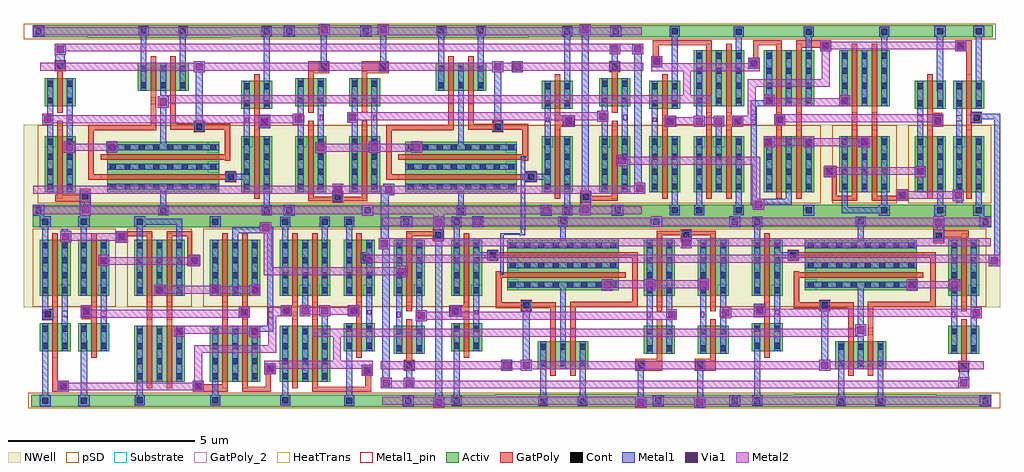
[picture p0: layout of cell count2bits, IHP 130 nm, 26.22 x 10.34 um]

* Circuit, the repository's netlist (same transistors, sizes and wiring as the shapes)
* Extracted by KLayout with SG13G2 LVS runset on : 31/03/2026 16:37

.SUBCKT count2bits
M$1 \$1 \$12 \$5 \$1 sg13_lv_nmos L=0.15u W=1.5u AS=0.51p AD=0.285p PS=3.68u
+ PD=1.88u
M$2 \$5 \$13 \$6 \$1 sg13_lv_nmos L=0.15u W=1.5u AS=0.285p AD=0.51p PS=1.88u
+ PD=3.68u
M$3 \$1 \$3 \$7 \$1 sg13_lv_nmos L=0.15u W=1.5u AS=0.51p AD=0.285p PS=3.68u
+ PD=1.88u
M$4 \$7 \$8 \$6 \$1 sg13_lv_nmos L=0.15u W=1.5u AS=0.285p AD=0.51p PS=1.88u
+ PD=3.68u
M$5 \$1 \$3 \$9 \$1 sg13_lv_nmos L=0.15u W=1.5u AS=0.51p AD=0.285p PS=3.68u
+ PD=1.88u
M$6 \$9 \$8 \$10 \$1 sg13_lv_nmos L=0.15u W=1.5u AS=0.285p AD=0.51p PS=1.88u
+ PD=3.68u
M$7 \$6 \$4 \$15 \$1 sg13_lv_nmos L=0.15u W=0.75u AS=0.255p AD=0.255p PS=2.18u
+ PD=2.18u
M$8 \$1 \$11 \$39 \$1 sg13_lv_nmos L=0.15u W=0.75u AS=0.255p AD=0.1425p
+ PS=2.18u PD=1.13u
M$9 \$39 \$16 \$1 \$1 sg13_lv_nmos L=0.15u W=0.75u AS=0.1425p AD=0.255p
+ PS=1.13u PD=2.18u
M$10 \$39 \$2 \$15 \$1 sg13_lv_nmos L=0.15u W=0.75u AS=0.255p AD=0.255p
+ PS=2.18u PD=2.18u
M$11 \$39 \$2 \$17 \$1 sg13_lv_nmos L=0.15u W=0.75u AS=0.255p AD=0.255p
+ PS=2.18u PD=2.18u
M$12 \$1 \$11 \$8 \$1 sg13_lv_nmos L=0.15u W=0.75u AS=0.255p AD=0.1425p
+ PS=2.18u PD=1.13u
M$13 \$8 \$18 \$1 \$1 sg13_lv_nmos L=0.15u W=0.75u AS=0.1425p AD=0.255p
+ PS=1.13u PD=2.18u
M$14 \$8 \$4 \$17 \$1 sg13_lv_nmos L=0.15u W=0.75u AS=0.255p AD=0.255p PS=2.18u
+ PD=2.18u
M$15 \$1 \$3 \$12 \$1 sg13_lv_nmos L=0.15u W=0.75u AS=0.255p AD=0.255p PS=2.18u
+ PD=2.18u
M$16 \$62 \$4 \$63 \$1 sg13_lv_nmos L=0.15u W=0.75u AS=0.255p AD=0.255p
+ PS=2.18u PD=2.18u
M$17 \$1 \$8 \$13 \$1 sg13_lv_nmos L=0.15u W=0.75u AS=0.255p AD=0.255p PS=2.18u
+ PD=2.18u
M$18 \$64 \$62 \$1 \$1 sg13_lv_nmos L=0.15u W=0.75u AS=0.255p AD=0.255p
+ PS=2.18u PD=2.18u
M$19 \$62 \$2 \$66 \$1 sg13_lv_nmos L=0.15u W=0.75u AS=0.255p AD=0.255p
+ PS=2.18u PD=2.18u
M$20 \$1 \$10 \$14 \$1 sg13_lv_nmos L=0.15u W=0.75u AS=0.255p AD=0.255p
+ PS=2.18u PD=2.18u
M$21 \$67 \$2 \$66 \$1 sg13_lv_nmos L=0.15u W=0.75u AS=0.255p AD=0.255p
+ PS=2.18u PD=2.18u
M$22 \$1 \$15 \$16 \$1 sg13_lv_nmos L=0.15u W=0.75u AS=0.255p AD=0.255p
+ PS=2.18u PD=2.18u
M$23 \$68 \$67 \$1 \$1 sg13_lv_nmos L=0.15u W=0.75u AS=0.255p AD=0.255p
+ PS=2.18u PD=2.18u
M$24 \$67 \$4 \$70 \$1 sg13_lv_nmos L=0.15u W=0.75u AS=0.255p AD=0.255p
+ PS=2.18u PD=2.18u
M$25 \$71 \$93 \$1 \$1 sg13_lv_nmos L=0.15u W=0.75u AS=0.255p AD=0.255p
+ PS=2.18u PD=2.18u
M$26 \$93 \$63 \$94 \$1 sg13_lv_nmos L=0.15u W=1.5u AS=0.51p AD=0.285p PS=3.68u
+ PD=1.88u
M$27 \$94 \$14 \$1 \$1 sg13_lv_nmos L=0.15u W=1.5u AS=0.285p AD=0.51p PS=1.88u
+ PD=3.68u
M$28 \$1 \$17 \$18 \$1 sg13_lv_nmos L=0.15u W=0.75u AS=0.255p AD=0.255p
+ PS=2.18u PD=2.18u
M$29 \$70 \$63 \$95 \$1 sg13_lv_nmos L=0.15u W=1.5u AS=0.51p AD=0.285p PS=3.68u
+ PD=1.88u
M$30 \$95 \$14 \$1 \$1 sg13_lv_nmos L=0.15u W=1.5u AS=0.285p AD=0.51p PS=1.88u
+ PD=3.68u
M$31 \$70 \$73 \$96 \$1 sg13_lv_nmos L=0.15u W=1.5u AS=0.51p AD=0.285p PS=3.68u
+ PD=1.88u
M$32 \$96 \$61 \$1 \$1 sg13_lv_nmos L=0.15u W=1.5u AS=0.285p AD=0.51p PS=1.88u
+ PD=3.68u
M$33 \$73 \$63 \$1 \$1 sg13_lv_nmos L=0.15u W=0.75u AS=0.255p AD=0.255p
+ PS=2.18u PD=2.18u
M$34 \$61 \$14 \$1 \$1 sg13_lv_nmos L=0.15u W=0.75u AS=0.255p AD=0.255p
+ PS=2.18u PD=2.18u
M$35 \$1 \$64 \$63 \$1 sg13_lv_nmos L=0.15u W=0.75u AS=0.255p AD=0.1425p
+ PS=2.18u PD=1.13u
M$36 \$63 \$11 \$1 \$1 sg13_lv_nmos L=0.15u W=0.75u AS=0.1425p AD=0.255p
+ PS=1.13u PD=2.18u
M$37 \$1 \$68 \$66 \$1 sg13_lv_nmos L=0.15u W=0.75u AS=0.255p AD=0.1425p
+ PS=2.18u PD=1.13u
M$38 \$66 \$11 \$1 \$1 sg13_lv_nmos L=0.15u W=0.75u AS=0.1425p AD=0.255p
+ PS=1.13u PD=2.18u
M$39 \$3 \$3 \$12 \$3 sg13_lv_pmos L=0.15u W=1.5u AS=0.51p AD=0.51p PS=3.68u
+ PD=3.68u
M$40 \$3 \$8 \$13 \$3 sg13_lv_pmos L=0.15u W=1.5u AS=0.51p AD=0.51p PS=3.68u
+ PD=3.68u
M$41 \$3 \$12 \$38 \$3 sg13_lv_pmos L=0.15u W=1.5u AS=0.51p AD=0.285p PS=3.68u
+ PD=1.88u
M$42 \$38 \$13 \$3 \$3 sg13_lv_pmos L=0.15u W=1.5u AS=0.285p AD=0.51p PS=1.88u
+ PD=3.68u
M$43 \$38 \$3 \$6 \$3 sg13_lv_pmos L=0.15u W=1.5u AS=0.51p AD=0.285p PS=3.68u
+ PD=1.88u
M$44 \$6 \$8 \$38 \$3 sg13_lv_pmos L=0.15u W=1.5u AS=0.285p AD=0.51p PS=1.88u
+ PD=3.68u
M$45 \$3 \$3 \$10 \$3 sg13_lv_pmos L=0.15u W=1.5u AS=0.51p AD=0.285p PS=3.68u
+ PD=1.88u
M$46 \$10 \$8 \$3 \$3 sg13_lv_pmos L=0.15u W=1.5u AS=0.285p AD=0.51p PS=1.88u
+ PD=3.68u
M$47 \$3 \$10 \$14 \$3 sg13_lv_pmos L=0.15u W=1.5u AS=0.51p AD=0.51p PS=3.68u
+ PD=3.68u
M$48 \$6 \$2 \$15 \$3 sg13_lv_pmos L=0.15u W=1.5u AS=0.51p AD=0.51p PS=3.68u
+ PD=3.68u
M$49 \$3 \$15 \$16 \$3 sg13_lv_pmos L=0.15u W=1.5u AS=0.51p AD=0.51p PS=3.68u
+ PD=3.68u
M$50 \$39 \$4 \$15 \$3 sg13_lv_pmos L=0.15u W=1.5u AS=0.51p AD=0.51p PS=3.68u
+ PD=3.68u
M$51 \$39 \$4 \$17 \$3 sg13_lv_pmos L=0.15u W=1.5u AS=0.51p AD=0.51p PS=3.68u
+ PD=3.68u
M$52 \$3 \$17 \$18 \$3 sg13_lv_pmos L=0.15u W=1.5u AS=0.51p AD=0.51p PS=3.68u
+ PD=3.68u
M$53 \$8 \$2 \$17 \$3 sg13_lv_pmos L=0.15u W=1.5u AS=0.51p AD=0.51p PS=3.68u
+ PD=3.68u
M$54 \$62 \$2 \$63 \$3 sg13_lv_pmos L=0.15u W=1.5u AS=0.51p AD=0.51p PS=3.68u
+ PD=3.68u
M$55 \$64 \$62 \$3 \$3 sg13_lv_pmos L=0.15u W=1.5u AS=0.51p AD=0.51p PS=3.68u
+ PD=3.68u
M$56 \$62 \$4 \$66 \$3 sg13_lv_pmos L=0.15u W=1.5u AS=0.51p AD=0.51p PS=3.68u
+ PD=3.68u
M$57 \$67 \$4 \$66 \$3 sg13_lv_pmos L=0.15u W=1.5u AS=0.51p AD=0.51p PS=3.68u
+ PD=3.68u
M$58 \$39 \$11 \$40 \$3 sg13_lv_pmos L=0.15u W=3u AS=1.02p AD=0.57p PS=6.68u
+ PD=3.38u
M$59 \$40 \$16 \$3 \$3 sg13_lv_pmos L=0.15u W=3u AS=0.57p AD=1.02p PS=3.38u
+ PD=6.68u
M$60 \$68 \$67 \$3 \$3 sg13_lv_pmos L=0.15u W=1.5u AS=0.51p AD=0.51p PS=3.68u
+ PD=3.68u
M$61 \$67 \$2 \$70 \$3 sg13_lv_pmos L=0.15u W=1.5u AS=0.51p AD=0.51p PS=3.68u
+ PD=3.68u
M$62 \$71 \$93 \$3 \$3 sg13_lv_pmos L=0.15u W=1.5u AS=0.51p AD=0.51p PS=3.68u
+ PD=3.68u
M$63 \$3 \$63 \$93 \$3 sg13_lv_pmos L=0.15u W=1.5u AS=0.51p AD=0.285p PS=3.68u
+ PD=1.88u
M$64 \$93 \$14 \$3 \$3 sg13_lv_pmos L=0.15u W=1.5u AS=0.285p AD=0.51p PS=1.88u
+ PD=3.68u
M$65 \$72 \$63 \$70 \$3 sg13_lv_pmos L=0.15u W=1.5u AS=0.51p AD=0.285p PS=3.68u
+ PD=1.88u
M$66 \$70 \$14 \$72 \$3 sg13_lv_pmos L=0.15u W=1.5u AS=0.285p AD=0.51p PS=1.88u
+ PD=3.68u
M$67 \$8 \$11 \$41 \$3 sg13_lv_pmos L=0.15u W=3u AS=1.02p AD=0.57p PS=6.68u
+ PD=3.38u
M$68 \$41 \$18 \$3 \$3 sg13_lv_pmos L=0.15u W=3u AS=0.57p AD=1.02p PS=3.38u
+ PD=6.68u
M$69 \$3 \$73 \$72 \$3 sg13_lv_pmos L=0.15u W=1.5u AS=0.51p AD=0.285p PS=3.68u
+ PD=1.88u
M$70 \$72 \$61 \$3 \$3 sg13_lv_pmos L=0.15u W=1.5u AS=0.285p AD=0.51p PS=1.88u
+ PD=3.68u
M$71 \$73 \$63 \$3 \$3 sg13_lv_pmos L=0.15u W=1.5u AS=0.51p AD=0.51p PS=3.68u
+ PD=3.68u
M$72 \$61 \$14 \$3 \$3 sg13_lv_pmos L=0.15u W=1.5u AS=0.51p AD=0.51p PS=3.68u
+ PD=3.68u
M$73 \$3 \$64 \$65 \$3 sg13_lv_pmos L=0.15u W=3u AS=1.02p AD=0.57p PS=6.68u
+ PD=3.38u
M$74 \$65 \$11 \$63 \$3 sg13_lv_pmos L=0.15u W=3u AS=0.57p AD=1.02p PS=3.38u
+ PD=6.68u
M$75 \$3 \$68 \$69 \$3 sg13_lv_pmos L=0.15u W=3u AS=1.02p AD=0.57p PS=6.68u
+ PD=3.38u
M$76 \$69 \$11 \$66 \$3 sg13_lv_pmos L=0.15u W=3u AS=0.57p AD=1.02p PS=3.38u
+ PD=6.68u
.ENDS count2bits

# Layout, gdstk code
from math import pi, radians
import gdstk
lib = gdstk.Library(unit=1e-6, precision=5e-09)
def R(c, l, rs):  # rectangles x0, y0, x1, y1
    for r in rs: c.add(gdstk.rectangle(r[:2], r[2:], *l))
def A(c, l, x, y, w, h, nx, ny, dx, dy):  # array of equal rectangles
    R(c, l, [(x+i*dx, y+j*dy, x+i*dx+w, y+j*dy+h) for i in range(nx) for j in range(ny)])
def P(c, l, *ps):  # polygons
    for p in ps: c.add(gdstk.Polygon(p, *l))
Activ = (1, 0)
GatPoly = (5, 0)
GatPoly_2 = (5, 2)
Cont = (6, 0)
Metal1 = (8, 0)
Metal1_pin = (8, 2)
Metal2 = (10, 0)
pSD = (14, 0)
Via1 = (19, 0)
NWell = (31, 0)
Substrate = (40, 0)
HeatTrans = (51, 0)

nmos_5_2_1 = lib.new_cell('nmos$5$2$1')
R(nmos_5_2_1, Activ, [(0,0,0.3,0.3), (0,0,0.83,0.75), (0.53,0,0.83,0.3)])
R(nmos_5_2_1, GatPoly, [(0.34,-0.18,0.49,0.93)])
R(nmos_5_2_1, GatPoly_2, [(0.34,-0.18,0.49,0.93)])
R(nmos_5_2_1, Cont, [(0.07,0.07,0.23,0.23), (0.6,0.07,0.76,0.23), (0.07,0.52,0.23,0.68), (0.6,0.52,0.76,0.68)])
R(nmos_5_2_1, Metal1, [(0.07,0,0.23,0.75), (0.6,0,0.76,0.75)])
R(nmos_5_2_1, Metal1_pin, [(0.07,0,0.23,0.75), (0.6,0,0.76,0.75)])
R(nmos_5_2_1, HeatTrans, [(0.34,-0.18,0.49,0.93)])
nmos_5_2_1.add(gdstk.Label('nmos', (0.415,0.375), layer=63, texttype=0))
nmos_5_2_1.add(gdstk.Label('nmos', (0.415,0.375), layer=51, texttype=0))

pmos_5_1_1 = lib.new_cell('pmos$5$1$1')
R(pmos_5_1_1, Activ, [(0,0,0.3,0.3), (0,0,0.83,3), (0.53,0,0.83,0.3)])
R(pmos_5_1_1, GatPoly, [(0.34,-0.18,0.49,3.18), (0.34,-0.18,0.49,3.18)])
A(pmos_5_1_1, Cont, 0.07, 0.07, 0.16, 0.16, 1, 7, 0, 0.385)
A(pmos_5_1_1, Cont, 0.6, 0.07, 0.16, 0.16, 1, 7, 0, 0.385)
R(pmos_5_1_1, Cont, [(0.07,2.77,0.23,2.93), (0.6,2.77,0.76,2.93)])
R(pmos_5_1_1, Metal1, [(0.07,0,0.23,3), (0.07,0,0.23,3), (0.6,0,0.76,3), (0.6,0,0.76,3)])
R(pmos_5_1_1, pSD, [(-0.18,-0.3,1.01,3.3)])
R(pmos_5_1_1, NWell, [(-0.31,-0.31,1.14,3.31)])
R(pmos_5_1_1, Substrate, [(0.53,0,0.83,0.3)])
R(pmos_5_1_1, HeatTrans, [(0.34,-0.18,0.49,3.18)])
pmos_5_1_1.add(gdstk.Label('pmos', (0.415,1.5), layer=63, texttype=0))
pmos_5_1_1.add(gdstk.Label('pmos', (0.415,1.5), layer=51, texttype=0))

norgate_1_1 = lib.new_cell('norgate$1$1')
R(norgate_1_1, Activ, [(-1.48,-2.5,2.355,-2.17), (-1.47,2.325,2.355,2.625)])
R(norgate_1_1, GatPoly, [(-0.01,-0.56,0.14,0.15), (0.52,-0.56,0.67,0.17), (-1.47,0.15,0.14,0.3), (0.52,0.17,2.19,0.32), (2.19,0.17,2.34,1.645), (-1.47,0.3,-1.32,1.135), (-1.47,0.965,-1.35,1.135), (2.01,1.495,2.19,1.645)])
R(norgate_1_1, GatPoly_2, [(0.005,-0.49,0.13,-0.38), (0.535,-0.49,0.66,-0.38)])
R(norgate_1_1, Cont, [(-0.28,-2.43,-0.12,-2.27), (-0.28,-2.43,-0.12,-2.27), (0.78,-2.43,0.94,-2.27), (0.78,-2.43,0.94,-2.27), (0.255,2.395,0.415,2.555)])
R(norgate_1_1, Metal1, [(-0.335,-2.48,-0.075,-2.22), (0.725,-2.48,0.985,-2.22), (-0.28,-2.43,-0.12,-0.74), (0.78,-2.43,0.94,-0.74), (0.25,-0.74,0.41,0.695), (0.25,1.915,0.41,2.345), (0.2,2.345,0.46,2.605)])
R(norgate_1_1, Metal1_pin, [(-0.25,-2.39,-0.17,-2.3), (0.81,-2.39,0.89,-2.3), (0.255,2.395,0.415,2.555)])
R(norgate_1_1, pSD, [(-1.48,-2.54,2.355,-2.125)])
R(norgate_1_1, NWell, [(-1.47,0.315,2.355,2.865), (-1.47,2.295,2.355,2.865)])
norgate_1_1.add(gdstk.Reference(nmos_5_2_1, (1.01,-0.74), rotation=pi))
norgate_1_1.add(gdstk.Reference(nmos_5_2_1, (-0.35,-1.49)))
norgate_1_1.add(gdstk.Reference(pmos_5_1_1, (-1.17,1.985), rotation=3*pi/2))
norgate_1_1.add(gdstk.Reference(pmos_5_1_1, (-1.17,1.455), rotation=3*pi/2))
norgate_1_1.add(gdstk.Label('vdd', (0.325,2.5), layer=8, texttype=2))
norgate_1_1.add(gdstk.Label('vss', (-0.22,-2.335), layer=8, texttype=2))
norgate_1_1.add(gdstk.Label('vss', (0.84,-2.335), layer=8, texttype=2))
norgate_1_1.add(gdstk.Label('b', (0.07,-0.44), layer=5, texttype=2))
norgate_1_1.add(gdstk.Label('a', (0.6,-0.44), layer=5, texttype=2))

nmos_1_3 = lib.new_cell('nmos$1$3')
R(nmos_1_3, Activ, [(0,0,0.3,0.3), (0,0,0.83,0.75), (0.53,0,0.83,0.3)])
R(nmos_1_3, GatPoly, [(0.34,-0.18,0.49,0.93)])
R(nmos_1_3, GatPoly_2, [(0.34,-0.18,0.49,0.93)])
R(nmos_1_3, Cont, [(0.07,0.07,0.23,0.23), (0.6,0.07,0.76,0.23), (0.07,0.52,0.23,0.68), (0.6,0.52,0.76,0.68)])
R(nmos_1_3, Metal1, [(0.07,0,0.23,0.75), (0.6,0,0.76,0.75)])
R(nmos_1_3, Metal1_pin, [(0.07,0,0.23,0.75), (0.6,0,0.76,0.75)])
R(nmos_1_3, HeatTrans, [(0.34,-0.18,0.49,0.93)])
nmos_1_3.add(gdstk.Label('nmos', (0.415,0.375), layer=63, texttype=0))
nmos_1_3.add(gdstk.Label('nmos', (0.415,0.375), layer=51, texttype=0))

pmos_2_1 = lib.new_cell('pmos$2$1')
R(pmos_2_1, Activ, [(0,0,0.3,0.3), (0,0,0.83,1.5), (0.53,0,0.83,0.3)])
R(pmos_2_1, GatPoly, [(0.34,-0.18,0.49,1.68), (0.34,-0.18,0.49,1.68)])
A(pmos_2_1, Cont, 0.07, 0.07, 0.16, 0.16, 1, 4, 0, 0.4)
A(pmos_2_1, Cont, 0.6, 0.07, 0.16, 0.16, 1, 4, 0, 0.4)
R(pmos_2_1, Metal1, [(0.07,0,0.23,1.5), (0.07,0,0.23,1.5), (0.6,0,0.76,1.5), (0.6,0,0.76,1.5)])
R(pmos_2_1, pSD, [(-0.18,-0.3,1.01,1.8)])
R(pmos_2_1, NWell, [(-0.31,-0.31,1.14,1.81)])
R(pmos_2_1, Substrate, [(0.53,0,0.83,0.3)])
R(pmos_2_1, HeatTrans, [(0.34,-0.18,0.49,1.68)])
pmos_2_1.add(gdstk.Label('pmos', (0.415,0.75), layer=63, texttype=0))
pmos_2_1.add(gdstk.Label('pmos', (0.415,0.75), layer=51, texttype=0))

inverter_1_1 = lib.new_cell('inverter$1$1')
R(inverter_1_1, Activ, [(-0.925,-2.62,0.525,-2.29), (-0.925,2.205,0.525,2.505)])
R(inverter_1_1, GatPoly, [(-0.275,-0.195,-0.125,0.185)])
R(inverter_1_1, GatPoly_2, [(-0.25,-0.14,-0.155,-0.04)])
R(inverter_1_1, Cont, [(-0.545,-2.535,-0.385,-2.375), (-0.545,-2.535,-0.385,-2.375), (-0.545,2.275,-0.385,2.435)])
R(inverter_1_1, Metal1, [(-0.595,-2.585,-0.335,-2.325), (-0.545,-2.325,-0.385,-0.845), (-0.015,-0.375,0.145,0.365), (-0.545,1.865,-0.385,2.275), (-0.595,2.225,-0.335,2.485)])
R(inverter_1_1, Metal1_pin, [(0.02,-0.135,0.12,-0.03)])
R(inverter_1_1, pSD, [(-0.925,-2.66,0.525,-2.245)])
R(inverter_1_1, NWell, [(-0.925,2.175,0.525,2.745)])
inverter_1_1.add(gdstk.Reference(nmos_1_3, (-0.615,-1.125)))
inverter_1_1.add(gdstk.Reference(pmos_2_1, (-0.615,0.365)))
inverter_1_1.add(gdstk.Label('vss', (-0.475,-2.43), layer=8, texttype=2))
inverter_1_1.add(gdstk.Label('vdd', (-0.465,2.355), layer=8, texttype=2))
inverter_1_1.add(gdstk.Label('out', (0.06,-0.09), layer=8, texttype=2))
inverter_1_1.add(gdstk.Label('in', (-0.205,-0.09), layer=5, texttype=2))

nmos_5_3_1 = lib.new_cell('nmos$5$3$1')
R(nmos_5_3_1, Activ, [(0,0,0.3,0.3), (0,0,0.83,0.75), (0.53,0,0.83,0.3)])
R(nmos_5_3_1, GatPoly, [(0.34,-0.18,0.49,0.93)])
R(nmos_5_3_1, GatPoly_2, [(0.34,-0.18,0.49,0.93)])
R(nmos_5_3_1, Cont, [(0.07,0.07,0.23,0.23), (0.6,0.07,0.76,0.23), (0.07,0.52,0.23,0.68), (0.6,0.52,0.76,0.68)])
R(nmos_5_3_1, Metal1, [(0.07,0,0.23,0.75), (0.6,0,0.76,0.75)])
R(nmos_5_3_1, Metal1_pin, [(0.07,0,0.23,0.75), (0.6,0,0.76,0.75)])
R(nmos_5_3_1, HeatTrans, [(0.34,-0.18,0.49,0.93)])
nmos_5_3_1.add(gdstk.Label('nmos', (0.415,0.375), layer=63, texttype=0))
nmos_5_3_1.add(gdstk.Label('nmos', (0.415,0.375), layer=51, texttype=0))

pmos_3_1 = lib.new_cell('pmos$3$1')
R(pmos_3_1, Activ, [(0,0,0.3,0.3), (0,0,0.83,1.5), (0.53,0,0.83,0.3)])
R(pmos_3_1, GatPoly, [(0.34,-0.18,0.49,1.68), (0.34,-0.18,0.49,1.68)])
A(pmos_3_1, Cont, 0.07, 0.07, 0.16, 0.16, 1, 4, 0, 0.4)
A(pmos_3_1, Cont, 0.6, 0.07, 0.16, 0.16, 1, 4, 0, 0.4)
R(pmos_3_1, Metal1, [(0.07,0,0.23,1.5), (0.07,0,0.23,1.5), (0.6,0,0.76,1.5), (0.6,0,0.76,1.5)])
R(pmos_3_1, pSD, [(-0.18,-0.3,1.01,1.8)])
R(pmos_3_1, NWell, [(-0.31,-0.31,1.14,1.81)])
R(pmos_3_1, Substrate, [(0.53,0,0.83,0.3)])
R(pmos_3_1, HeatTrans, [(0.34,-0.18,0.49,1.68)])
pmos_3_1.add(gdstk.Label('pmos', (0.415,0.75), layer=63, texttype=0))
pmos_3_1.add(gdstk.Label('pmos', (0.415,0.75), layer=51, texttype=0))

transmissiongate_1_1 = lib.new_cell('transmissiongate$1$1')
R(transmissiongate_1_1, Activ, [(2.295,-2.62,3.745,-2.29), (2.315,2.205,3.745,2.505)])
R(transmissiongate_1_1, GatPoly, [(2.945,-0.055,3.095,0.185)])
R(transmissiongate_1_1, GatPoly_2, [(2.98,-0.43,3.09,-0.27), (2.96,-0.055,3.08,0.105)])
R(transmissiongate_1_1, Cont, [(2.91,-2.54,3.07,-2.38), (2.86,2.275,3.02,2.435)])
R(transmissiongate_1_1, Metal1, [(2.91,-2.54,3.07,-2.38), (2.91,-2.54,3.07,-2.38), (2.675,-0.445,2.835,-0.21), (3.205,-0.445,3.365,-0.21), (2.675,-0.21,2.835,0.365), (3.205,-0.21,3.365,0.365), (2.86,2.275,3.02,2.435)])
R(transmissiongate_1_1, Metal1_pin, [(2.91,-2.54,3.07,-2.38), (2.69,-0.21,2.785,-0.07), (3.205,-0.21,3.365,-0.07), (2.86,2.275,3.02,2.435)])
R(transmissiongate_1_1, pSD, [(2.295,-2.66,3.745,-2.245)])
R(transmissiongate_1_1, NWell, [(2.295,2.175,3.745,2.745)])
transmissiongate_1_1.add(gdstk.Reference(nmos_5_3_1, (2.605,-1.195)))
transmissiongate_1_1.add(gdstk.Reference(pmos_3_1, (2.605,0.365)))
transmissiongate_1_1.add(gdstk.Label('vdd', (2.93,2.38), layer=8, texttype=2))
transmissiongate_1_1.add(gdstk.Label('vss', (2.985,-2.46), layer=8, texttype=2))
transmissiongate_1_1.add(gdstk.Label('out', (3.285,-0.14), layer=8, texttype=2))
transmissiongate_1_1.add(gdstk.Label('in', (2.73,-0.14), layer=8, texttype=2))
transmissiongate_1_1.add(gdstk.Label('en', (3.015,-0.355), layer=5, texttype=2))
transmissiongate_1_1.add(gdstk.Label('noten', (3.025,0.02), layer=5, texttype=2))

nmos_5_4 = lib.new_cell('nmos$5$4')
R(nmos_5_4, Activ, [(0,0,0.3,0.3), (0,0,0.83,0.75), (0.53,0,0.83,0.3)])
R(nmos_5_4, GatPoly, [(0.34,-0.18,0.49,0.93)])
R(nmos_5_4, GatPoly_2, [(0.34,-0.18,0.49,0.93)])
R(nmos_5_4, Cont, [(0.07,0.07,0.23,0.23), (0.6,0.07,0.76,0.23), (0.07,0.52,0.23,0.68), (0.6,0.52,0.76,0.68)])
R(nmos_5_4, Metal1, [(0.07,0,0.23,0.75), (0.6,0,0.76,0.75)])
R(nmos_5_4, Metal1_pin, [(0.07,0,0.23,0.75), (0.6,0,0.76,0.75)])
R(nmos_5_4, HeatTrans, [(0.34,-0.18,0.49,0.93)])
nmos_5_4.add(gdstk.Label('nmos', (0.415,0.375), layer=63, texttype=0))
nmos_5_4.add(gdstk.Label('nmos', (0.415,0.375), layer=51, texttype=0))

pmos_6 = lib.new_cell('pmos$6')
R(pmos_6, Activ, [(0,0,0.3,0.3), (0,0,0.83,1.5), (0.53,0,0.83,0.3)])
R(pmos_6, GatPoly, [(0.34,-0.18,0.49,1.68), (0.34,-0.18,0.49,1.68)])
A(pmos_6, Cont, 0.07, 0.07, 0.16, 0.16, 1, 4, 0, 0.4)
A(pmos_6, Cont, 0.6, 0.07, 0.16, 0.16, 1, 4, 0, 0.4)
R(pmos_6, Metal1, [(0.07,0,0.23,1.5), (0.07,0,0.23,1.5), (0.6,0,0.76,1.5), (0.6,0,0.76,1.5)])
R(pmos_6, pSD, [(-0.18,-0.3,1.01,1.8)])
R(pmos_6, NWell, [(-0.31,-0.31,1.14,1.81)])
R(pmos_6, Substrate, [(0.53,0,0.83,0.3)])
R(pmos_6, HeatTrans, [(0.34,-0.18,0.49,1.68)])
pmos_6.add(gdstk.Label('pmos', (0.415,0.75), layer=63, texttype=0))
pmos_6.add(gdstk.Label('pmos', (0.415,0.75), layer=51, texttype=0))

transmissiongate_2 = lib.new_cell('transmissiongate$2')
R(transmissiongate_2, Activ, [(2.295,-2.62,3.745,-2.29), (2.315,2.205,3.745,2.505)])
R(transmissiongate_2, GatPoly, [(2.945,-0.055,3.095,0.185)])
R(transmissiongate_2, GatPoly_2, [(2.98,-0.43,3.09,-0.27), (2.96,-0.055,3.08,0.105)])
R(transmissiongate_2, Cont, [(3.52,-2.54,3.68,-2.38), (3.52,2.275,3.68,2.435)])
R(transmissiongate_2, Metal1, [(3.52,-2.54,3.68,-2.38), (3.52,-2.54,3.68,-2.38), (2.675,-0.445,2.835,-0.21), (3.205,-0.445,3.365,-0.21), (2.675,-0.21,2.835,0.365), (3.205,-0.21,3.365,0.365), (3.52,2.275,3.68,2.435)])
R(transmissiongate_2, Metal1_pin, [(3.52,-2.54,3.68,-2.38), (2.69,-0.21,2.785,-0.07), (3.205,-0.21,3.365,-0.07), (3.52,2.275,3.68,2.435)])
R(transmissiongate_2, pSD, [(2.295,-2.66,3.745,-2.245)])
R(transmissiongate_2, NWell, [(2.295,2.175,3.745,2.745)])
transmissiongate_2.add(gdstk.Reference(nmos_5_4, (2.605,-1.195)))
transmissiongate_2.add(gdstk.Reference(pmos_6, (2.605,0.365)))
transmissiongate_2.add(gdstk.Label('vdd', (3.59,2.38), layer=8, texttype=2))
transmissiongate_2.add(gdstk.Label('vss', (3.595,-2.46), layer=8, texttype=2))
transmissiongate_2.add(gdstk.Label('out', (3.285,-0.14), layer=8, texttype=2))
transmissiongate_2.add(gdstk.Label('in', (2.73,-0.14), layer=8, texttype=2))
transmissiongate_2.add(gdstk.Label('en', (3.015,-0.355), layer=5, texttype=2))
transmissiongate_2.add(gdstk.Label('noten', (3.025,0.02), layer=5, texttype=2))

dff_1 = lib.new_cell('dff$1')
R(dff_1, Activ, [(2.745,-2.62,19.105,-2.29), (2.745,2.205,19.105,2.505)])
R(dff_1, GatPoly, [(18.225,-1.675,18.525,-1.375), (3.325,-1.655,3.625,-1.355), (9.54,-1.655,10.27,-1.33), (11.14,-1.655,11.715,-1.33), (4.555,-0.2,4.94,0.105), (12.735,-0.195,13.015,0.145), (6.465,-0.045,6.765,0.255), (14.485,-0.045,14.785,0.255), (5.565,1.305,5.865,1.605), (13.645,1.305,13.945,1.605), (5.865,1.38,5.925,1.53), (13.685,1.38,13.925,1.53), (17.55,1.78,17.85,2.135), (4.105,1.835,4.405,2.135), (10.77,1.835,11.07,2.135), (17.65,1.935,18.275,2.125), (18.275,1.935,18.5,2.125), (3.4,1.97,4.14,2.1), (10.12,1.985,10.77,2.115), (11.07,1.985,11.715,2.115)])
P(dff_1, GatPoly, [(10.2,-1.585),(10.2,-1.375),(10.2,-1.375),(10.2,-1.585)])
R(dff_1, Cont, [(3.365,-2.54,3.525,-2.38), (3.365,-2.54,3.525,-2.38), (3.365,-2.54,3.525,-2.38), (3.365,-2.54,3.525,-2.38), (18.295,-1.605,18.455,-1.445), (3.395,-1.585,3.555,-1.425), (9.61,-1.585,9.77,-1.425), (11.21,-1.585,11.37,-1.425), (4.635,-0.125,4.795,0.035), (12.805,-0.105,12.965,0.055), (6.535,0.025,6.695,0.185), (14.555,0.025,14.715,0.185), (5.635,1.375,5.795,1.535), (13.715,1.375,13.875,1.535), (17.62,1.9,17.78,2.06), (4.175,1.905,4.335,2.065), (10.84,1.905,11,2.065)])
R(dff_1, Metal1, [(11.21,-2.66,11.37,-1.405), (4.125,-2.64,4.415,-2.35), (9.545,-2.64,9.835,-2.35), (11.135,-2.64,11.425,-2.35), (3.295,-2.61,3.595,-2.31), (10.015,-2.61,10.315,-2.31), (12.07,-2.61,12.37,-2.31), (18.805,-2.61,19.105,-2.31), (3.365,-2.54,3.525,-2.38), (3.365,-2.54,3.525,-2.38), (3.365,-2.54,3.525,-2.38), (3.365,-2.54,3.525,-2.38), (3.365,-2.54,3.525,-2.38), (3.365,-2.54,3.525,-2.38), (3.365,-2.54,3.525,-2.38), (3.365,-2.54,3.525,-2.38), (4.175,-2.35,4.365,2.33), (9.61,-2.35,9.77,-1.375), (2.71,-2.125,3,-1.835), (3.325,-2.125,3.615,-1.835), (18.225,-2.12,18.515,-1.83), (2.755,-1.835,2.945,1.615), (3.395,-1.835,3.555,-1.405), (18.245,-1.83,18.505,-1.395), (5.945,-1.65,6.245,-1.35), (6.47,-1.645,6.76,-1.355), (14.49,-1.645,14.78,-1.355), (3.345,-1.635,3.605,-1.375), (9.56,-1.635,9.82,-1.375), (11.16,-1.635,11.42,-1.375), (5.98,-1.605,6.21,-1.395), (5.98,-1.605,6.215,-1.395), (6.52,-1.595,6.71,-0.025), (14.54,-1.595,14.73,0.185), (3.655,-0.315,3.945,-0.025), (10.375,-0.285,10.665,0.005), (11.83,-0.24,12.12,0.05), (18.565,-0.24,18.855,0.05), (4.565,-0.195,4.865,0.105), (12.735,-0.195,13.035,0.145), (12.805,-0.105,12.965,0.055), (6.485,-0.025,6.745,0.235), (14.505,-0.025,14.765,0.235), (8.64,0.505,8.94,0.805), (9.78,0.505,10.08,0.805), (16.835,0.505,17.135,0.805), (17.975,0.505,18.275,0.805), (11.23,0.53,11.52,0.82), (5.585,1.325,5.845,1.585), (13.665,1.325,13.925,1.585), (5.195,1.375,5.795,1.535), (13.275,1.375,13.875,1.535), (2.655,1.615,2.945,1.905), (10.79,1.64,11.05,2.115), (10.84,1.72,11,2.065), (17.55,1.83,17.85,2.195), (4.125,1.855,4.385,2.2), (4.16,1.885,4.345,2.115), (17.62,1.9,17.78,2.06), (17.55,2.195,17.85,2.495), (4.12,2.2,4.41,2.49), (3.25,2.205,3.55,2.505), (5.165,2.205,5.465,2.505), (9.965,2.205,10.265,2.505), (12.07,2.205,12.37,2.505), (18.805,2.205,19.105,2.505)])
R(dff_1, Metal1_pin, [(3.365,-2.54,3.525,-2.38), (3.365,-2.54,3.525,-2.38), (3.365,-2.54,3.525,-2.38), (3.365,-2.54,3.525,-2.38), (5.98,-1.605,6.21,-1.395), (5.2,2.25,5.43,2.46), (3.315,2.275,3.475,2.435)])
R(dff_1, Metal2, [(4.125,-2.64,4.415,-2.35), (9.545,-2.64,9.835,-2.35), (11.135,-2.64,11.425,-2.35), (2.745,-2.56,19.1,-2.35), (2.71,-2.125,3,-1.835), (3,-2.125,3.325,-1.915), (3.325,-2.125,3.615,-1.835), (3.615,-2.12,18.225,-1.915), (18.225,-2.12,18.515,-1.83), (6.47,-1.645,6.76,-1.355), (14.49,-1.645,14.78,-1.355), (2.71,-1.605,18.905,-1.395), (3.655,-0.315,3.945,-0.025), (10.375,-0.285,10.665,0.005), (3.655,-0.28,10.545,-0.07), (11.83,-0.24,12.12,0.05), (18.565,-0.24,18.855,0.05), (12.735,-0.215,13.035,0.085), (11.82,-0.195,18.705,0.015), (4.57,-0.19,4.86,0.1), (8.64,0.505,8.94,0.805), (9.78,0.505,10.08,0.805), (16.835,0.505,17.135,0.805), (17.975,0.505,18.275,0.805), (11.23,0.53,11.52,0.82), (16.9,0.56,18.205,0.76), (8.685,0.57,11.23,0.78), (2.655,1.615,2.945,1.905), (10.77,1.64,11.07,1.94), (2.945,1.695,19.1,1.905), (17.55,2.195,17.85,2.495), (4.12,2.2,4.41,2.49), (9.965,2.205,10.265,2.505), (2.745,2.25,19.105,2.46)])
R(dff_1, pSD, [(2.745,-2.66,19.105,-2.245), (2.88,0.065,18.97,2.165)])
R(dff_1, Via1, [(4.175,-2.59,4.365,-2.4), (9.595,-2.59,9.785,-2.4), (11.185,-2.59,11.375,-2.4), (2.76,-2.075,2.95,-1.885), (3.375,-2.075,3.565,-1.885), (18.275,-2.07,18.465,-1.88), (6.005,-1.595,6.195,-1.405), (6.52,-1.595,6.71,-1.405), (14.54,-1.595,14.73,-1.405), (3.705,-0.265,3.895,-0.075), (10.43,-0.235,10.62,-0.045), (11.88,-0.19,12.07,0), (18.615,-0.19,18.805,0), (4.62,-0.14,4.81,0.05), (12.79,-0.12,12.98,0.07), (8.695,0.56,8.885,0.75), (9.835,0.56,10.025,0.75), (16.89,0.56,17.08,0.75), (18.03,0.56,18.22,0.75), (9.85,0.575,10.01,0.735), (11.28,0.58,11.47,0.77), (2.705,1.665,2.895,1.855), (10.825,1.695,11.015,1.885), (4.17,2.25,4.36,2.44), (17.605,2.25,17.795,2.44), (5.225,2.26,5.415,2.45)])
R(dff_1, NWell, [(2.745,0.055,19.105,2.75), (2.745,2.205,19.105,2.745)])
dff_1.add(gdstk.Reference(norgate_1_1, (7.275,-0.115)))
dff_1.add(gdstk.Reference(inverter_1_1, (5.215,0)))
dff_1.add(gdstk.Reference(norgate_1_1, (15.275,-0.115)))
dff_1.add(gdstk.Reference(inverter_1_1, (13.29,0)))
dff_1.add(gdstk.Reference(transmissiongate_1_1, (0.455,0)))
dff_1.add(gdstk.Reference(transmissiongate_1_1, (7.175,0)))
dff_1.add(gdstk.Reference(transmissiongate_2, (8.62,0)))
dff_1.add(gdstk.Reference(transmissiongate_2, (15.355,0)))
dff_1.add(gdstk.Label('vdd', (3.41,2.355), layer=8, texttype=2))
dff_1.add(gdstk.Label('vss', (3.44,-2.46), layer=8, texttype=2))
dff_1.add(gdstk.Label('vss', (3.44,-2.46), layer=8, texttype=2))
dff_1.add(gdstk.Label('vss', (3.44,-2.46), layer=8, texttype=2))
dff_1.add(gdstk.Label('vss', (3.44,-2.46), layer=8, texttype=2))
dff_1.add(gdstk.Label('rst', (6.095,-1.5), layer=8, texttype=2))
dff_1.add(gdstk.Label('nclk', (5.315,2.34), layer=8, texttype=2))

nmos_1_1 = lib.new_cell('nmos$1$1')
R(nmos_1_1, Activ, [(0,0,0.3,0.3), (0,0,0.83,1.5), (0.53,0,0.83,0.3)])
R(nmos_1_1, GatPoly, [(0.34,-0.18,0.49,1.68)])
R(nmos_1_1, GatPoly_2, [(0.34,-0.18,0.49,1.68)])
A(nmos_1_1, Cont, 0.07, 0.07, 0.16, 0.16, 1, 4, 0, 0.4)
A(nmos_1_1, Cont, 0.6, 0.07, 0.16, 0.16, 1, 4, 0, 0.4)
R(nmos_1_1, Metal1, [(0.07,0,0.23,1.5), (0.6,0,0.76,1.5)])
R(nmos_1_1, Metal1_pin, [(0.07,0,0.23,1.5), (0.6,0,0.76,1.5)])
R(nmos_1_1, HeatTrans, [(0.34,-0.18,0.49,1.68)])
nmos_1_1.add(gdstk.Label('nmos', (0.415,0.75), layer=63, texttype=0))
nmos_1_1.add(gdstk.Label('nmos', (0.415,0.75), layer=51, texttype=0))

pmos_4 = lib.new_cell('pmos$4')
R(pmos_4, Activ, [(0,0,0.3,0.3), (0,0,0.83,1.5), (0.53,0,0.83,0.3)])
R(pmos_4, GatPoly, [(0.34,-0.18,0.49,1.68), (0.34,-0.18,0.49,1.68)])
A(pmos_4, Cont, 0.07, 0.07, 0.16, 0.16, 1, 4, 0, 0.4)
A(pmos_4, Cont, 0.6, 0.07, 0.16, 0.16, 1, 4, 0, 0.4)
R(pmos_4, Metal1, [(0.07,0,0.23,1.5), (0.07,0,0.23,1.5), (0.6,0,0.76,1.5), (0.6,0,0.76,1.5)])
R(pmos_4, pSD, [(-0.18,-0.3,1.01,1.8)])
R(pmos_4, NWell, [(-0.31,-0.31,1.14,1.81)])
R(pmos_4, Substrate, [(0.53,0,0.83,0.3)])
R(pmos_4, HeatTrans, [(0.34,-0.18,0.49,1.68)])
pmos_4.add(gdstk.Label('pmos', (0.415,0.75), layer=63, texttype=0))
pmos_4.add(gdstk.Label('pmos', (0.415,0.75), layer=51, texttype=0))

nmos = lib.new_cell('nmos')
R(nmos, Activ, [(0,0,0.3,0.3), (0,0,0.83,0.75), (0.53,0,0.83,0.3)])
R(nmos, GatPoly, [(0.34,-0.18,0.49,0.93)])
R(nmos, GatPoly_2, [(0.34,-0.18,0.49,0.93)])
R(nmos, Cont, [(0.07,0.07,0.23,0.23), (0.6,0.07,0.76,0.23), (0.07,0.52,0.23,0.68), (0.6,0.52,0.76,0.68)])
R(nmos, Metal1, [(0.07,0,0.23,0.75), (0.6,0,0.76,0.75)])
R(nmos, Metal1_pin, [(0.07,0,0.23,0.75), (0.6,0,0.76,0.75)])
R(nmos, HeatTrans, [(0.34,-0.18,0.49,0.93)])
nmos.add(gdstk.Label('nmos', (0.415,0.375), layer=63, texttype=0))
nmos.add(gdstk.Label('nmos', (0.415,0.375), layer=51, texttype=0))

pmos_1 = lib.new_cell('pmos$1')
R(pmos_1, Activ, [(0,0,0.3,0.3), (0,0,0.83,1.5), (0.53,0,0.83,0.3)])
R(pmos_1, GatPoly, [(0.34,-0.18,0.49,1.68), (0.34,-0.18,0.49,1.68)])
A(pmos_1, Cont, 0.07, 0.07, 0.16, 0.16, 1, 4, 0, 0.4)
A(pmos_1, Cont, 0.6, 0.07, 0.16, 0.16, 1, 4, 0, 0.4)
R(pmos_1, Metal1, [(0.07,0,0.23,1.5), (0.07,0,0.23,1.5), (0.6,0,0.76,1.5), (0.6,0,0.76,1.5)])
R(pmos_1, pSD, [(-0.18,-0.3,1.01,1.8)])
R(pmos_1, NWell, [(-0.31,-0.31,1.14,1.81)])
R(pmos_1, Substrate, [(0.53,0,0.83,0.3)])
R(pmos_1, HeatTrans, [(0.34,-0.18,0.49,1.68)])
pmos_1.add(gdstk.Label('pmos', (0.415,0.75), layer=63, texttype=0))
pmos_1.add(gdstk.Label('pmos', (0.415,0.75), layer=51, texttype=0))

inverter = lib.new_cell('inverter')
R(inverter, Activ, [(-0.925,-2.62,0.525,-2.29), (-0.925,2.205,0.525,2.505)])
R(inverter, GatPoly, [(-0.275,-0.195,-0.125,0.185)])
R(inverter, GatPoly_2, [(-0.25,-0.14,-0.155,-0.04)])
R(inverter, Cont, [(-0.545,-2.535,-0.385,-2.375), (-0.545,-2.535,-0.385,-2.375), (-0.545,2.275,-0.385,2.435)])
R(inverter, Metal1, [(-0.595,-2.585,-0.335,-2.325), (-0.545,-2.325,-0.385,-0.845), (-0.015,-0.375,0.145,0.365), (-0.545,1.865,-0.385,2.275), (-0.595,2.225,-0.335,2.485)])
R(inverter, Metal1_pin, [(0.02,-0.135,0.12,-0.03)])
R(inverter, pSD, [(-0.925,-2.66,0.525,-2.245)])
R(inverter, NWell, [(-0.925,2.175,0.525,2.745)])
inverter.add(gdstk.Reference(nmos, (-0.615,-1.125)))
inverter.add(gdstk.Reference(pmos_1, (-0.615,0.365)))
inverter.add(gdstk.Label('vss', (-0.475,-2.43), layer=8, texttype=2))
inverter.add(gdstk.Label('vdd', (-0.465,2.355), layer=8, texttype=2))
inverter.add(gdstk.Label('out', (0.06,-0.09), layer=8, texttype=2))
inverter.add(gdstk.Label('in', (-0.205,-0.09), layer=5, texttype=2))

andgate = lib.new_cell('andgate')
R(andgate, Activ, [(-0.62,-2.62,1.185,-2.29), (-0.685,2.205,1.235,2.505)])
R(andgate, GatPoly, [(-0.275,-0.265,-0.125,0.185), (0.255,-0.265,0.405,0.185), (1.23,-0.19,1.445,0.11)])
R(andgate, GatPoly_2, [(0.26,-0.185,0.39,-0.065), (-0.25,-0.18,-0.16,-0.07)])
R(andgate, Cont, [(-0.545,-2.52,-0.385,-2.36), (-0.545,-2.52,-0.385,-2.36), (1.3,-0.12,1.46,0.04), (-0.545,2.275,-0.385,2.435), (0.515,2.275,0.675,2.435)])
R(andgate, Metal1, [(-0.595,-2.57,-0.335,-2.31), (-0.545,-2.36,-0.385,-1.945), (0.515,-0.445,0.675,-0.185), (-0.08,-0.185,0.21,0.105), (0.45,-0.185,0.74,0.105), (1.215,-0.185,1.525,0.115), (-0.015,0.105,0.145,0.365), (-0.545,1.865,-0.385,2.275), (0.515,1.865,0.675,2.435), (-0.595,2.225,-0.335,2.485), (0.465,2.225,0.725,2.485)])
R(andgate, Metal1_pin, [(-0.545,2.275,-0.385,2.435)])
P(andgate, Metal1_pin, [(-0.545,-2.31),(-0.545,-2.31),(-0.385,-2.31),(-0.385,-2.31)])
R(andgate, Metal2, [(-0.08,-0.185,0.21,0.105), (0.45,-0.185,0.74,0.105), (1.235,-0.185,1.525,0.105), (0.21,-0.14,0.45,0.06), (0.74,-0.14,1.235,0.06)])
R(andgate, pSD, [(-0.925,-2.66,1.105,-2.245)])
R(andgate, Via1, [(-0.03,-0.135,0.16,0.055), (0.5,-0.135,0.69,0.055), (1.285,-0.135,1.475,0.055)])
R(andgate, NWell, [(-0.925,2.175,1.105,2.745)])
andgate.add(gdstk.Reference(nmos_1_1, (0.745,-0.445), rotation=pi))
andgate.add(gdstk.Reference(pmos_4, (-0.085,0.365)))
andgate.add(gdstk.Reference(pmos_4, (-0.615,0.365)))
andgate.add(gdstk.Reference(nmos_1_1, (-0.615,-1.945)))
andgate.add(gdstk.Reference(inverter, (1.72,0)))
andgate.add(gdstk.Label('vdd', (-0.475,2.38), layer=8, texttype=2))
andgate.add(gdstk.Label('vss', (-0.485,-2.425), layer=8, texttype=2))
andgate.add(gdstk.Label('b', (-0.18,-0.13), layer=5, texttype=2))
andgate.add(gdstk.Label('a', (0.325,-0.125), layer=5, texttype=2))

nmos_1 = lib.new_cell('nmos$1')
R(nmos_1, Activ, [(0,0,0.3,0.3), (0,0,0.83,1.5), (0.53,0,0.83,0.3)])
R(nmos_1, GatPoly, [(0.34,-0.18,0.49,1.68)])
R(nmos_1, GatPoly_2, [(0.34,-0.18,0.49,1.68)])
A(nmos_1, Cont, 0.07, 0.07, 0.16, 0.16, 1, 4, 0, 0.4)
A(nmos_1, Cont, 0.6, 0.07, 0.16, 0.16, 1, 4, 0, 0.4)
R(nmos_1, Metal1, [(0.07,0,0.23,1.5), (0.6,0,0.76,1.5)])
R(nmos_1, Metal1_pin, [(0.07,0,0.23,1.5), (0.6,0,0.76,1.5)])
R(nmos_1, HeatTrans, [(0.34,-0.18,0.49,1.68)])
nmos_1.add(gdstk.Label('nmos', (0.415,0.75), layer=63, texttype=0))
nmos_1.add(gdstk.Label('nmos', (0.415,0.75), layer=51, texttype=0))

pmos = lib.new_cell('pmos')
R(pmos, Activ, [(0,0,0.3,0.3), (0,0,0.83,1.5), (0.53,0,0.83,0.3)])
R(pmos, GatPoly, [(0.34,-0.18,0.49,1.68), (0.34,-0.18,0.49,1.68)])
A(pmos, Cont, 0.07, 0.07, 0.16, 0.16, 1, 4, 0, 0.4)
A(pmos, Cont, 0.6, 0.07, 0.16, 0.16, 1, 4, 0, 0.4)
R(pmos, Metal1, [(0.07,0,0.23,1.5), (0.07,0,0.23,1.5), (0.6,0,0.76,1.5), (0.6,0,0.76,1.5)])
R(pmos, pSD, [(-0.18,-0.3,1.01,1.8)])
R(pmos, NWell, [(-0.31,-0.31,1.14,1.81)])
R(pmos, Substrate, [(0.53,0,0.83,0.3)])
R(pmos, HeatTrans, [(0.34,-0.18,0.49,1.68)])
pmos.add(gdstk.Label('pmos', (0.415,0.75), layer=63, texttype=0))
pmos.add(gdstk.Label('pmos', (0.415,0.75), layer=51, texttype=0))

nmos_4 = lib.new_cell('nmos$4')
R(nmos_4, Activ, [(0,0,0.3,0.3), (0,0,0.83,0.75), (0.53,0,0.83,0.3)])
R(nmos_4, GatPoly, [(0.34,-0.18,0.49,0.93)])
R(nmos_4, GatPoly_2, [(0.34,-0.18,0.49,0.93)])
R(nmos_4, Cont, [(0.07,0.07,0.23,0.23), (0.6,0.07,0.76,0.23), (0.07,0.52,0.23,0.68), (0.6,0.52,0.76,0.68)])
R(nmos_4, Metal1, [(0.07,0,0.23,0.75), (0.6,0,0.76,0.75)])
R(nmos_4, Metal1_pin, [(0.07,0,0.23,0.75), (0.6,0,0.76,0.75)])
R(nmos_4, HeatTrans, [(0.34,-0.18,0.49,0.93)])
nmos_4.add(gdstk.Label('nmos', (0.415,0.375), layer=63, texttype=0))
nmos_4.add(gdstk.Label('nmos', (0.415,0.375), layer=51, texttype=0))

pmos_4_1 = lib.new_cell('pmos$4$1')
R(pmos_4_1, Activ, [(0,0,0.3,0.3), (0,0,0.83,1.5), (0.53,0,0.83,0.3)])
R(pmos_4_1, GatPoly, [(0.34,-0.18,0.49,1.68), (0.34,-0.18,0.49,1.68)])
A(pmos_4_1, Cont, 0.07, 0.07, 0.16, 0.16, 1, 4, 0, 0.4)
A(pmos_4_1, Cont, 0.6, 0.07, 0.16, 0.16, 1, 4, 0, 0.4)
R(pmos_4_1, Metal1, [(0.07,0,0.23,1.5), (0.07,0,0.23,1.5), (0.6,0,0.76,1.5), (0.6,0,0.76,1.5)])
R(pmos_4_1, pSD, [(-0.18,-0.3,1.01,1.8)])
R(pmos_4_1, NWell, [(-0.31,-0.31,1.14,1.81)])
R(pmos_4_1, Substrate, [(0.53,0,0.83,0.3)])
R(pmos_4_1, HeatTrans, [(0.34,-0.18,0.49,1.68)])
pmos_4_1.add(gdstk.Label('pmos', (0.415,0.75), layer=63, texttype=0))
pmos_4_1.add(gdstk.Label('pmos', (0.415,0.75), layer=51, texttype=0))

inverter_3 = lib.new_cell('inverter$3')
R(inverter_3, Activ, [(-0.845,-2.62,0.395,-2.29), (-0.795,2.205,0.285,2.505)])
R(inverter_3, GatPoly, [(-0.525,-0.265,-0.275,-0.015), (-0.275,-0.195,-0.125,0.185)])
R(inverter_3, GatPoly_2, [(-0.485,-0.215,-0.325,-0.055)])
R(inverter_3, Cont, [(-0.545,-2.535,-0.385,-2.375), (-0.545,-2.535,-0.385,-2.375), (-0.545,2.275,-0.385,2.435)])
R(inverter_3, Metal1, [(-0.545,-2.535,-0.38,-0.845), (-0.015,-0.375,0.145,0.365), (-0.545,1.865,-0.385,2.435)])
R(inverter_3, Metal1_pin, [(-0.015,-0.195,0.145,-0.035)])
R(inverter_3, pSD, [(-0.925,-2.66,0.525,-2.245)])
R(inverter_3, NWell, [(-0.925,2.175,0.525,2.745)])
inverter_3.add(gdstk.Reference(nmos_4, (-0.615,-1.125)))
inverter_3.add(gdstk.Reference(pmos_4_1, (-0.615,0.365)))
inverter_3.add(gdstk.Label('vss', (-0.475,-2.43), layer=8, texttype=2))
inverter_3.add(gdstk.Label('vdd', (-0.465,2.355), layer=8, texttype=2))
inverter_3.add(gdstk.Label('out', (0.06,-0.09), layer=8, texttype=2))
inverter_3.add(gdstk.Label('in', (-0.45,-0.11), layer=5, texttype=2))

xorgate = lib.new_cell('xorgate')
R(xorgate, Activ, [(-5.415,-2.62,1.055,-2.29), (-0.845,-2.62,1.055,-2.29), (-5.27,2.205,1.055,2.505)])
R(xorgate, GatPoly, [(-1.075,-2.22,-0.775,-1.92), (-0.775,-2.22,-0.125,-2.015), (-4.845,-2.215,-4.695,-1.305), (-4.705,-2.215,-4.4,-1.915), (-2.305,-0.265,-2.155,0.185), (-1.775,-0.265,-1.625,0.185), (-0.275,-0.265,-0.125,0.185), (0.255,-0.265,0.405,0.185), (0.165,-0.225,0.465,0.075), (-4.085,-0.195,-3.785,0.105), (-1.215,1.16,-1.085,2.095), (-1.175,1.16,-0.875,1.46), (-3.125,1.795,-2.825,2.095), (-3.07,1.85,-2.88,2.04), (-2.825,1.965,-2.155,2.095), (-1.775,1.965,-1.215,2.095)])
R(xorgate, GatPoly_2, [(-5.055,-0.215,-4.895,-0.055)])
R(xorgate, Cont, [(-2.575,-2.52,-2.415,-2.36), (-0.545,-2.52,-0.385,-2.36), (-1.005,-2.15,-0.845,-1.99), (-4.63,-2.145,-4.47,-1.985), (0.235,-0.155,0.395,0.005), (-4.015,-0.125,-3.855,0.035), (-1.105,1.23,-0.945,1.39), (-3.055,1.865,-2.895,2.025), (-2.575,2.275,-2.415,2.435), (-0.545,2.275,-0.385,2.435)])
R(xorgate, Metal1, [(-5.185,-2.605,-4.885,-2.305), (-4.145,-2.605,-3.845,-2.305), (-2.625,-2.57,-2.365,-2.31), (-0.595,-2.57,-0.335,-2.31), (-2.575,-2.52,-2.415,-0.445), (-0.545,-2.52,-0.385,-1.715), (-1.075,-2.22,-0.775,-1.92), (-4.705,-2.215,-4.405,-1.915), (-1.005,-2.15,-0.845,-1.99), (-4.63,-2.145,-4.47,-1.985), (0.445,-0.745,0.745,-0.445), (-1.585,-0.74,-1.285,-0.44), (0.675,-0.605,0.925,-0.445), (0.925,-0.605,1.085,-0.225), (0.165,-0.225,0.465,0.075), (0.925,-0.225,1.085,2.045), (-4.085,-0.195,-3.785,0.105), (0.235,-0.155,0.395,0.005), (-4.015,-0.125,-3.855,0.035), (-2.575,0.365,-2.415,2.435), (-2.115,0.365,-1.815,0.665), (-0.615,0.365,-0.315,0.665), (0.445,0.365,0.745,0.665), (-1.175,1.16,-0.875,1.46), (-3.615,1.165,-3.315,1.465), (-1.105,1.23,-0.945,1.39), (-3.125,1.795,-2.825,2.095), (-4.63,1.805,-4.33,2.105), (-4.585,1.865,-4.425,2.165), (-3.055,1.865,-2.895,2.025), (-2.575,1.865,-2.415,2.435), (-1.515,1.865,-1.355,2.435), (-0.015,1.865,0.145,2.045), (-0.015,2.045,1.085,2.205), (-5.185,2.205,-4.885,2.505), (-4.145,2.205,-3.845,2.505), (-2.645,2.205,-2.345,2.505), (-0.615,2.205,-0.315,2.505), (-2.575,2.275,-1.355,2.435), (-0.545,2.275,-0.385,2.435)])
R(xorgate, Metal1_pin, [(-2.575,-2.52,-2.415,-2.355), (0.925,-0.225,1.085,-0.065), (-2.575,2.275,-2.415,2.435), (-0.545,2.275,-0.385,2.435)])
R(xorgate, Metal2, [(-1.075,-2.22,-0.775,-1.92), (-4.705,-2.215,-4.405,-1.915), (-4.405,-2.18,-1.075,-1.97), (0.445,-0.745,0.745,-0.445), (-1.585,-0.74,-1.285,-0.44), (-1.515,-0.65,0.675,-0.44), (-4.085,-0.225,0.405,-0.015), (0.165,-0.225,0.465,0.075), (-4.085,-0.195,-3.785,0.105), (-2.115,0.365,-1.815,0.665), (-0.615,0.365,-0.315,0.665), (0.445,0.365,0.745,0.665), (-0.53,0.415,0.675,0.625), (-2.045,0.42,-0.385,0.63), (-1.175,1.16,-0.875,1.46), (-3.615,1.165,-3.315,1.465), (-3.56,1.195,-2.94,1.405), (-2.94,1.195,-0.915,1.405), (-3.125,1.795,-2.825,2.095), (-4.63,1.805,-4.33,2.105), (-4.33,1.84,-3.125,2.05)])
R(xorgate, pSD, [(-5.495,-2.66,-0.925,-2.245), (-0.925,-2.66,1.055,-2.245)])
R(xorgate, Via1, [(-1.02,-2.165,-0.83,-1.975), (-4.645,-2.16,-4.455,-1.97), (0.5,-0.69,0.69,-0.5), (0.5,-0.69,0.69,-0.5), (-1.53,-0.685,-1.34,-0.495), (0.22,-0.17,0.41,0.02), (-4.03,-0.14,-3.84,0.05), (-2.06,0.425,-1.87,0.615), (0.51,0.425,0.7,0.615), (-0.56,0.44,-0.37,0.63), (-3.56,1.215,-3.37,1.405), (-1.12,1.215,-0.93,1.405), (-3.07,1.85,-2.88,2.04), (-4.575,1.855,-4.385,2.045)])
R(xorgate, NWell, [(-5.605,0.055,1.055,2.745), (-0.925,2.175,1.055,2.745)])
xorgate.add(gdstk.Reference(nmos_1, (0.745,-0.445), rotation=pi))
xorgate.add(gdstk.Reference(nmos_1, (-0.615,-1.945)))
xorgate.add(gdstk.Reference(pmos, (-0.615,0.365)))
xorgate.add(gdstk.Reference(pmos, (-0.085,0.365)))
xorgate.add(gdstk.Reference(pmos, (-2.645,0.365)))
xorgate.add(gdstk.Reference(nmos_1, (-1.285,-0.445), rotation=pi))
xorgate.add(gdstk.Reference(nmos_1, (-2.645,-1.945)))
xorgate.add(gdstk.Reference(inverter_3, (-3.53,0)))
xorgate.add(gdstk.Reference(pmos, (-2.115,0.365)))
xorgate.add(gdstk.Reference(inverter_3, (-4.57,0)))
xorgate.add(gdstk.Label('out', (1.005,-0.15), layer=8, texttype=2))
xorgate.add(gdstk.Label('vss', (-5.035,-2.455), layer=8, texttype=2))
xorgate.add(gdstk.Label('vdd', (-5.035,2.355), layer=8, texttype=2))
xorgate.add(gdstk.Label('vdd', (-2.505,2.38), layer=8, texttype=2))
xorgate.add(gdstk.Label('vss', (-2.515,-2.425), layer=8, texttype=2))
xorgate.add(gdstk.Label('vdd', (-0.475,2.38), layer=8, texttype=2))
xorgate.add(gdstk.Label('a', (-3.93,-0.05), layer=5, texttype=2))
xorgate.add(gdstk.Label('b', (-4.975,-0.135), layer=5, texttype=2))

count1bit = lib.new_cell('count1bit')
R(count1bit, Activ, [(9.11,-2.62,9.315,-2.29), (9.16,-2.62,9.295,-2.61), (9.11,2.2,9.25,2.505)])
R(count1bit, GatPoly, [(8.31,-2.22,9.085,-2.085), (10.19,-2.22,10.34,-2.125), (10.34,-2.22,11.78,-2.085), (8.95,-2.085,9.085,-1.515), (11.62,-2.085,11.78,-1.79), (11.525,-1.79,11.825,-1.49), (8.91,-1.745,9.21,-1.445), (2.96,-0.265,3.21,-0.015), (9.345,-0.19,9.645,0.11), (9.645,-0.19,9.66,0.11)])
R(count1bit, Cont, [(11.595,-1.72,11.755,-1.56), (8.98,-1.675,9.14,-1.515), (9.415,-0.12,9.575,0.04)])
R(count1bit, Metal1, [(11.525,-1.79,11.825,-1.49), (8.91,-1.745,9.21,-1.445), (11.595,-1.725,11.755,-1.565), (8.98,-1.675,9.14,-1.515), (24.78,-0.705,25.08,-0.405), (9.345,-0.19,9.645,0.11), (12.455,0.865,12.755,1.165), (8.79,2.045,9.09,2.345)])
R(count1bit, Metal2, [(7.025,-1.92,7.235,-0.96), (11.525,-1.79,11.825,-1.49), (8.91,-1.745,9.21,-1.385), (8.955,-1.595,11.825,-1.385), (10.755,-1.385,10.965,-0.735), (7.025,-1.17,9.17,-0.96), (9.01,-1.17,9.22,0.055), (10.19,-0.735,25.01,-0.525), (24.78,-0.705,25.08,-0.405), (9.22,-0.19,9.345,0.055), (9.345,-0.19,9.645,0.11), (12.455,0.865,12.755,1.165), (8.89,0.92,9.1,2.1), (8.91,0.92,12.455,1.13), (8.79,2.045,9.09,2.345)])
R(count1bit, pSD, [(28.425,-2.66,28.455,-2.245), (28.425,-2.66,28.67,-2.245), (8.98,0.065,9.12,0.07), (9.12,0.065,9.14,2.165), (12.05,0.065,12.205,2.165), (8.98,0.07,9.12,2.165)])
R(count1bit, Via1, [(11.58,-1.74,11.77,-1.55), (8.965,-1.69,9.155,-1.5), (24.835,-0.65,25.025,-0.46), (9.4,-0.135,9.59,0.055), (12.51,0.92,12.7,1.11), (8.845,2.1,9.035,2.29)])
R(count1bit, NWell, [(28.425,0.055,28.67,2.75)])
count1bit.add(gdstk.Reference(dff_1, (9.325,0)))
count1bit.add(gdstk.Reference(andgate, (9.935,0)))
count1bit.add(gdstk.Reference(xorgate, (8.055,0)))

count2bits = lib.new_cell('count2bits')
R(count2bits, Cont, [(3.005,-0.215,3.165,-0.05), (15.28,0.945,15.335,0.98), (15.87,4.08,15.945,4.115), (27.96,5.07,28.12,5.23)])
R(count2bits, Metal1, [(2.94,-0.29,3.24,0.01), (2.94,0.01,3.1,0.365), (15.24,0.925,15.335,2.05), (28.37,1.16,28.67,1.46), (11.5,1.235,11.8,1.535), (28.51,1.25,28.67,5.26), (12.03,1.905,12.255,3.32), (15.77,1.975,15.8,2.05), (15.79,1.995,15.91,4.115), (15.24,2.01,15.785,2.05), (12.095,3.07,12.395,3.37), (27.885,5.005,28.185,5.305), (28.185,5.1,28.51,5.26)])
R(count2bits, Metal2, [(28.37,1.16,28.67,1.46), (11.64,1.25,28.67,1.46), (13.445,2.49,13.74,2.765)])
R(count2bits, Via1, [(28.425,1.215,28.615,1.405), (11.555,1.29,11.745,1.48), (12.15,3.125,12.34,3.315)])
count2bits.add(gdstk.Reference(count1bit, (31.12,5.015), rotation=pi))
count2bits.add(gdstk.Reference(count1bit, (0,0)))

lib.write_gds('count2bits.gds')
